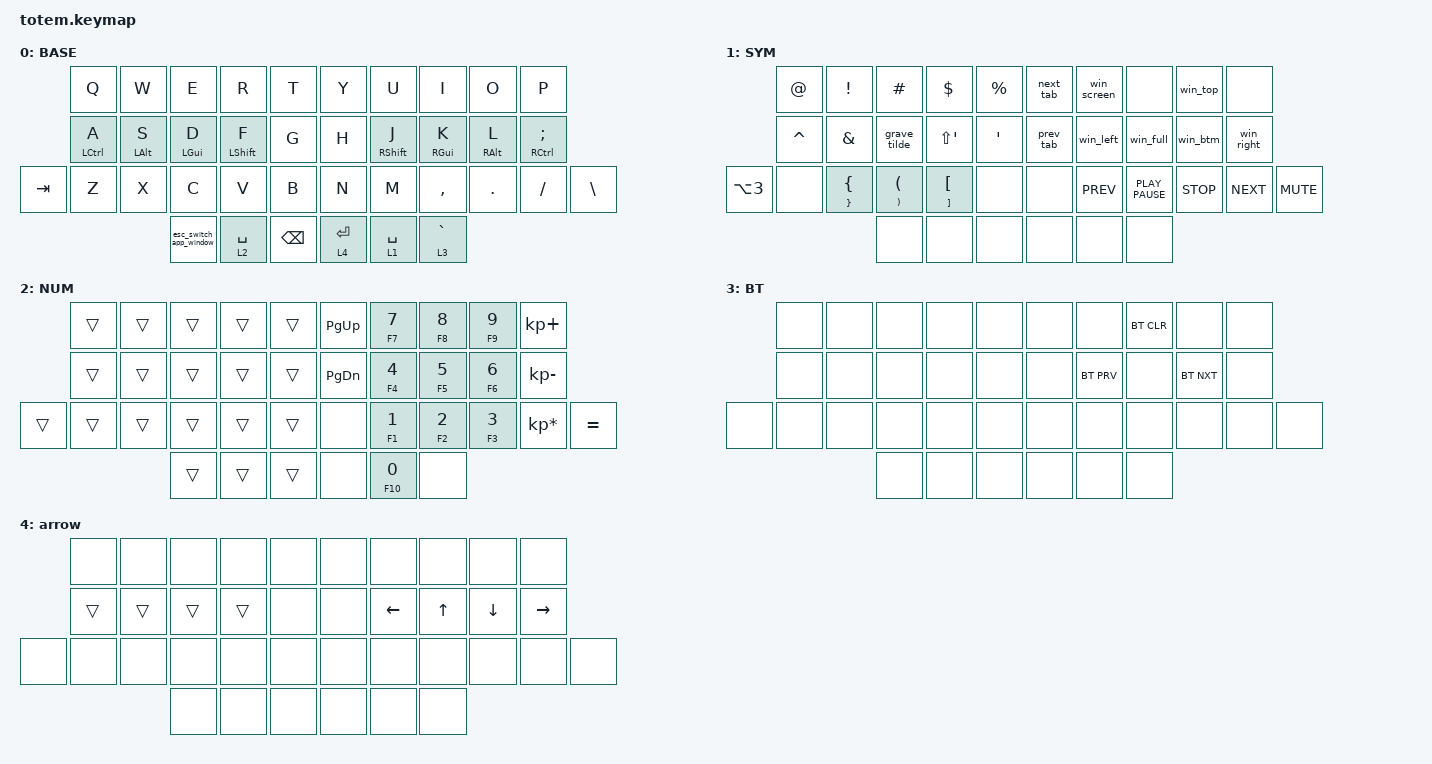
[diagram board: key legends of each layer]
//
//                                                        ▀▀▀▀▀     ▀▀▀▀▀          ▀▀█▀▀
//                                                        ▄▀▀▀▄  ▄  ▄▀▀▀▄  ▄  ▄▀▀▀▄  █  ▄▀▀▀▄
//                                                        █   █  █  █   █  █  █   █  █  █   █
//                                                         ▀▀▀   █   ▀▀▀   █   ▀▀▀   ▀   ▀▀▀
//                                                               █      ▄▄▄█▄▄▄    █   █  
//                                                               ▀      █  █  █     █▄█
//                                                             ▀▀▀▀▀    █  █  █      ▀
//                                                                      ▀  ▀  ▀
//
// ▄▄▄▄▄▄▄▄▄▄▄▄▄▄▄▄▄▄▄▄▄▄▄▄▄▄▄▄▄▄▄▄▄▄▄▄▄▄▄▄▄▄▄▄▄▄▄▄▄▄▄▄▄▄▄▄▄▄▄▄▄▄▄▄▄▄▄▄▄▄▄▄▄▄▄▄▄▄▄▄▄▄▄▄▄▄▄▄▄▄▄▄▄▄▄▄▄▄▄▄▄▄▄▄▄▄▄▄▄▄▄▄▄▄▄▄▄▄▄▄▄▄▄▄▄▄▄▄▄▄▄▄▄▄▄▄▄▄▄▄▄▄▄▄▄▄▄▄▄

#include <behaviors.dtsi>
#include <dt-bindings/zmk/bt.h>
#include <dt-bindings/zmk/keys.h>

#define BASE 0
#define NAV  1
#define SYM  2

&mt {
    quick-tap-ms = <100>;
    global-quick-tap;
    flavor = "tap-preferred";
    tapping-term-ms = <170>;
};

/ {
    combos {
        compatible = "zmk,combos";

        combo_caps {
            timeout-ms = <50>;
            key-positions = <13 16>;
            bindings = <&kp CAPS>;
        };
    };

    macros {
        next_tab: next_tab {
            label = "NEXT_TAB";
            compatible = "zmk,behavior-macro";
            #binding-cells = <0>;
            bindings = <&kp LC(TAB)>;
        };

        prev_tab: prev_tab {
            compatible = "zmk,behavior-macro";
            #binding-cells = <0>;
            bindings = <&kp LC(LS(TAB))>;
            label = "PREV_TAB";
        };

        win_screen: win_screen {
            compatible = "zmk,behavior-macro";
            #binding-cells = <0>;
            bindings = <&kp LC(LG(U))>;
            label = "WIN_SCREEN";
        };

        win_top: win_top {
            compatible = "zmk,behavior-macro";
            #binding-cells = <0>;
            bindings = <&kp LC(LG(N))>;
            label = "WIN_TOP";
        };

        win_btm: win_btm {
            compatible = "zmk,behavior-macro";
            #binding-cells = <0>;
            bindings = <&kp LC(LG(M))>;
            label = "WIN_BTM";
        };

        win_left: win_left {
            compatible = "zmk,behavior-macro";
            #binding-cells = <0>;
            bindings = <&kp LC(LG(J))>;
            label = "WIN_LEFT";
        };

        win_full: win_full {
            compatible = "zmk,behavior-macro";
            #binding-cells = <0>;
            bindings = <&kp LC(LG(K))>;
            label = "WIN_FULL";
        };

        win_right: win_right {
            compatible = "zmk,behavior-macro";
            #binding-cells = <0>;
            bindings = <&kp LC(LG(SEMI))>;
            label = "WIN_RIGHT";
        };
    };

    behaviors {
        esc_switch_app_window: esc_switch_app_window {
            compatible = "zmk,behavior-tap-dance";
            label = "ESC_SWITCH_APP_WINDOW";
            #binding-cells = <0>;
            bindings = <&kp ESC>, <&kp LG(GRAVE)>;

            tapping-term-ms = <200>;
        };

        grave_tilde: grave_tilde {
            compatible = "zmk,behavior-tap-dance";
            label = "GRAVE_TILDE";
            #binding-cells = <0>;
            bindings = <&kp GRAVE>, <&kp TILDE>;
        };
    };

    keymap {
        compatible = "zmk,keymap";

        // ▄▄▄▄▄▄▄▄▄▄▄▄▄▄▄▄▄▄▄▄▄▄▄▄▄▄▄▄▄▄▄▄▄▄▄▄▄▄▄▄▄▄▄▄▄▄▄▄▄▄▄▄▄▄▄▄▄▄▄▄▄▄▄▄▄▄▄▄▄▄▄▄▄▄▄▄▄▄▄▄▄▄▄▄▄▄▄▄▄▄▄▄▄▄▄▄▄▄▄▄▄▄▄▄▄▄▄▄▄▄▄▄▄▄▄▄▄▄▄▄▄▄▄▄▄▄▄▄▄▄▄▄▄▄▄▄▄▄▄▄▄▄▄▄▄▄▄▄▄

        base_layer {
            // ┏━━━━━━━━━━━━━━━━━━━━━━━━━━━━━━━━━━━━━━━┓

            label = "BASE";

            // ┗━━━━━━━━━━━━━━━━━━━━━━━━━━━━━━━━━━━━━━━┛
            //             ┏━━━━━━━━━━━┳━━━━━━━━━━━┳━━━━━━━━━━━┳━━━━━━━━━━━┳━━━━━━━━━━━┓   ┏━━━━━━━━━━━┳━━━━━━━━━━━┳━━━━━━━━━━━┳━━━━━━━━━━━┳━━━━━━━━━━━┓
            //             ┃     Q     ┃     W     ┃     E     ┃     R     ┃     T     ┃   ┃     Y     ┃     U     ┃     I     ┃     O     ┃     P     ┃
            //             ┣━━━━━━━━━━━╋━━━━━━━━━━━╋━━━━━━━━━━━╋━━━━━━━━━━━╋━━━━━━━━━━━┫   ┣━━━━━━━━━━━╋━━━━━━━━━━━╋━━━━━━━━━━━╋━━━━━━━━━━━╋━━━━━━━━━━━┫
            //             ┃  CTRL/A   ┃   ALT/S   ┃   CMD/D   ┃  SHFT/F   ┃     G     ┃   ┃     H     ┃  SHFT/J   ┃   CMD/K   ┃   ALT/L   ┃  CTRL/;   ┃
            // ┏━━━━━━━━━━━╋━━━━━━━━━━━╋━━━━━━━━━━━╋━━━━━━━━━━━╋━━━━━━━━━━━╋━━━━━━━━━━━┫   ┣━━━━━━━━━━━╋━━━━━━━━━━━╋━━━━━━━━━━━╋━━━━━━━━━━━╋━━━━━━━━━━━╋━━━━━━━━━━━┓
            // ┃    TAB    ┃     Z     ┃     X     ┃     C     ┃     V     ┃     B     ┃   ┃     N     ┃     M     ┃     ,     ┃     .     ┃     /     ┃     \     ┃
            // ┗━━━━━━━━━━━┻━━━━━━━━━━━┻━━━━━━━━━━━╋━━━━━━━━━━━╋━━━━━━━━━━━╋━━━━━━━━━━━┫   ┣━━━━━━━━━━━╋━━━━━━━━━━━╋━━━━━━━━━━━╋━━━━━━━━━━━┻━━━━━━━━━━━┻━━━━━━━━━━━┛
            //                                     ┃           ┃    SPC    ┃    BSPC   ┃   ┃   ENTER   ┃   SPACE   ┃     `     ┃
            //                                     ┗━━━━━━━━━━━┻━━━━━━━━━━━┻━━━━━━━━━━━┛   ┗━━━━━━━━━━━┻━━━━━━━━━━━┻━━━━━━━━━━━┛

            bindings = <
         &kp Q        &kp W       &kp E                   &kp R        &kp T       &kp Y        &kp U        &kp I        &kp O       &kp P
         &mt LCTRL A  &mt LALT S  &mt LGUI D              &mt LSHFT F  &kp G       &kp H        &mt RSHFT J  &mt RGUI K   &mt RALT L  &mt RCTRL SEMI
&kp TAB  &kp Z        &kp X       &kp C                   &kp V        &kp B       &kp N        &kp M        &kp COMMA    &kp DOT     &kp FSLH        &kp BSLH
                                  &esc_switch_app_window  &lt 2 SPACE  &kp BSPC    &lt 4 ENTER  &lt 1 SPACE  &lt 3 GRAVE
            >;
        };

        sym_win {
            // ┏━━━━━━━━━━━━━━━━━━━━━━━━━━━━━━━━━━━━━━━┓

            label = "SYM";

            // ┗━━━━━━━━━━━━━━━━━━━━━━━━━━━━━━━━━━━━━━━┛
            //             ┏━━━━━━━━━━━┳━━━━━━━━━━━┳━━━━━━━━━━━┳━━━━━━━━━━━┳━━━━━━━━━━━┓   ┏━━━━━━━━━━━┳━━━━━━━━━━━┳━━━━━━━━━━━┳━━━━━━━━━━━┳━━━━━━━━━━━┓
            //             ┃           ┃           ┃     UP    ┃           ┃     {     ┃   ┃     }     ┃     7     ┃     8     ┃     9     ┃     +     ┃
            //             ┣━━━━━━━━━━━╋━━━━━━━━━━━╋━━━━━━━━━━━╋━━━━━━━━━━━╋━━━━━━━━━━━┫   ┣━━━━━━━━━━━╋━━━━━━━━━━━╋━━━━━━━━━━━╋━━━━━━━━━━━╋━━━━━━━━━━━┫
            //             ┃   SHIFT   ┃   LEFT    ┃    DOWN   ┃   RIGHT   ┃     [     ┃   ┃     ]     ┃     4     ┃     5     ┃     6     ┃     -     ┃
            // ┏━━━━━━━━━━━╋━━━━━━━━━━━╋━━━━━━━━━━━╋━━━━━━━━━━━╋━━━━━━━━━━━╋━━━━━━━━━━━┫   ┣━━━━━━━━━━━╋━━━━━━━━━━━╋━━━━━━━━━━━╋━━━━━━━━━━━╋━━━━━━━━━━━╋━━━━━━━━━━━┓
            // ┃           ┃           ┃   P UP    ┃  C LOCK   ┃  P DOWN   ┃     (     ┃   ┃     )     ┃     1     ┃     2     ┃     3     ┃     *     ┃           ┃
            // ┗━━━━━━━━━━━┻━━━━━━━━━━━┻━━━━━━━━━━━╋━━━━━━━━━━━╋━━━━━━━━━━━╋━━━━━━━━━━━┫   ┣━━━━━━━━━━━╋━━━━━━━━━━━╋━━━━━━━━━━━╋━━━━━━━━━━━┻━━━━━━━━━━━┻━━━━━━━━━━━┛
            //                                     ┃           ┃    TAB    ┃    SPC    ┃   ┃    DEL    ┃     0     ┃           ┃
            //                                     ┗━━━━━━━━━━━┻━━━━━━━━━━━┻━━━━━━━━━━━┛   ┗━━━━━━━━━━━┻━━━━━━━━━━━┻━━━━━━━━━━━┛

            bindings = <
                  &kp AT     &kp EXCL       &kp HASH       &kp DOLLAR                      &kp PERCENT    &next_tab  &win_screen  &none             &win_top    &none
                  &kp CARET  &kp AMPS       &grave_tilde   &kp LS(SQT)                     &kp SQT        &prev_tab  &win_left    &win_full         &win_btm    &win_right
&kp LA(NUMBER_3)  &none      &mt RBRC LBRC  &mt RPAR LPAR  &mt RIGHT_BRACKET LEFT_BRACKET  &none          &none      &kp K_PREV   &kp K_PLAY_PAUSE  &kp K_STOP  &kp K_NEXT  &kp K_MUTE
                                            &none          &none                           &none          &none      &none        &none
            >;
        };

        num_func {
            label = "NUM";
            bindings = <
        &trans  &trans  &trans  &trans  &trans    &kp PG_UP  &mt F7 N7        &mt F8 N8  &mt F9 N9        &kp KP_PLUS
        &trans  &trans  &trans  &trans  &trans    &kp PG_DN  &mt F4 N4        &mt F5 N5  &mt F6 NUMBER_6  &kp KP_MINUS
&trans  &trans  &trans  &trans  &trans  &trans    &none      &mt F1 NUMBER_1  &mt F2 N2  &mt F3 N3        &kp KP_MULTIPLY  &kp EQUAL
                        &trans  &trans  &trans    &none      &mt F10 N0       &none
            >;
        };

        bluetooth {
            // ┏━━━━━━━━━━━━━━━━━━━━━━━━━━━━━━━━━━━━━━━┓

            label = "BT";

            // ┗━━━━━━━━━━━━━━━━━━━━━━━━━━━━━━━━━━━━━━━┛
            //             ┏━━━━━━━━━━━┳━━━━━━━━━━━┳━━━━━━━━━━━┳━━━━━━━━━━━┳━━━━━━━━━━━┓   ┏━━━━━━━━━━━┳━━━━━━━━━━━┳━━━━━━━━━━━┳━━━━━━━━━━━┳━━━━━━━━━━━┓
            //             ┃           ┃           ┃           ┃           ┃           ┃   ┃           ┃           ┃   BT_CLR  ┃           ┃           ┃
            //             ┣━━━━━━━━━━━╋━━━━━━━━━━━╋━━━━━━━━━━━╋━━━━━━━━━━━╋━━━━━━━━━━━┫   ┣━━━━━━━━━━━╋━━━━━━━━━━━╋━━━━━━━━━━━╋━━━━━━━━━━━╋━━━━━━━━━━━┫
            //             ┃           ┃           ┃           ┃           ┃           ┃   ┃           ┃   BT_PRV  ┃           ┃   BT_NXT  ┃           ┃
            // ┏━━━━━━━━━━━╋━━━━━━━━━━━╋━━━━━━━━━━━╋━━━━━━━━━━━╋━━━━━━━━━━━╋━━━━━━━━━━━┫   ┣━━━━━━━━━━━╋━━━━━━━━━━━╋━━━━━━━━━━━╋━━━━━━━━━━━╋━━━━━━━━━━━╋━━━━━━━━━━━┓
            // ┃           ┃           ┃           ┃           ┃           ┃           ┃   ┃           ┃           ┃           ┃           ┃           ┃           ┃
            // ┗━━━━━━━━━━━┻━━━━━━━━━━━┻━━━━━━━━━━━╋━━━━━━━━━━━╋━━━━━━━━━━━╋━━━━━━━━━━━┫   ┣━━━━━━━━━━━╋━━━━━━━━━━━╋━━━━━━━━━━━╋━━━━━━━━━━━┻━━━━━━━━━━━┻━━━━━━━━━━━┛
            //                                     ┃           ┃           ┃           ┃   ┃           ┃           ┃           ┃
            //                                     ┗━━━━━━━━━━━┻━━━━━━━━━━━┻━━━━━━━━━━━┛   ┗━━━━━━━━━━━┻━━━━━━━━━━━┻━━━━━━━━━━━┛

            bindings = <
       &none  &none  &none  &none  &none    &none  &none       &bt BT_CLR  &none       &none
       &none  &none  &none  &none  &none    &none  &bt BT_PRV  &none       &bt BT_NXT  &none
&none  &none  &none  &none  &none  &none    &none  &none       &none       &none       &none  &none
                     &none  &none  &none    &none  &none       &none
            >;
        };

        arrow {
            bindings = <
       &none   &none   &none   &none   &none    &none  &none     &none   &none     &none
       &trans  &trans  &trans  &trans  &none    &none  &kp LEFT  &kp UP  &kp DOWN  &kp RIGHT
&none  &none   &none   &none   &none   &none    &none  &none     &none   &none     &none      &none
                       &none   &none   &none    &none  &none     &none
            >;
        };
    };
};
